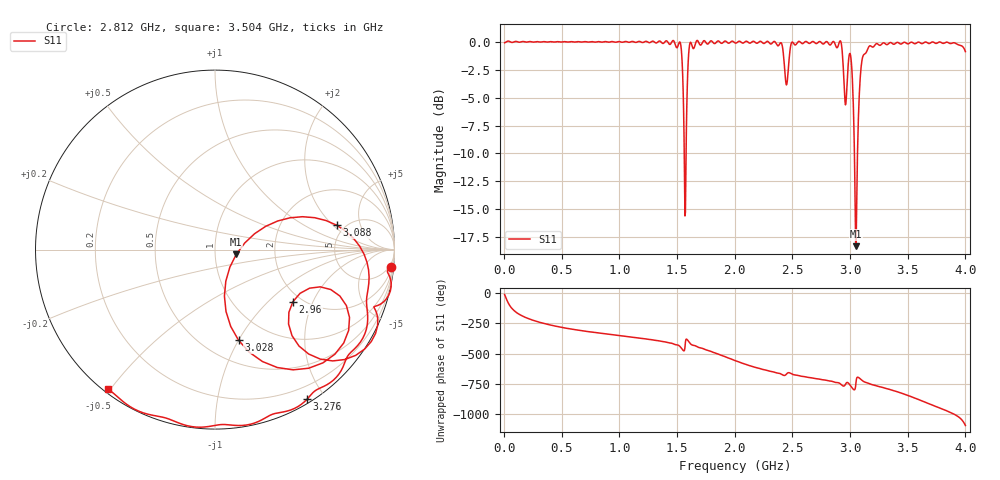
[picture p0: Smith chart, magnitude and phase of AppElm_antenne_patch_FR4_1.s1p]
! TOUCHSTONE file generated by CST MICROWAVE STUDIO
! Date and time: Tue Jun  7 21:31:13 2022
! Project name: AppElm_antenne_patch_FR4.cst
! Parameters = {L=45; W=58.5; e=0.035; h=1.6; lambda=0.190476; ls=120; w0=1.2; w1=0.533; ws=120; y0=20; y1=23.81}
! Header version: 2018
! Port assignment regex: !\s*Touchstone port\s*([0-9]+)\s*=\s*(CST MWS port|CST DS port)\s*([0-9]+|Zmin|Zmax)\s*\(\"(.*)\"\)(\s*mode\s*([0-9]+))?.*
! Touchstone port assignment:
! Touchstone port 1 = CST MWS port 1 ("")
# GHz S MA R 50
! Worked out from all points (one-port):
!   1000 points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, 4 MHz to 4 GHz, reference 50 ohm
!   lowest |S11| = -18.3 dB at 3.052 GHz (marker M1), VSWR 1.28, Z = 63.4 - j3.34 ohm
!   |S11| at or under -10 dB: 1.562 GHz to 1.578 GHz (15.82 MHz wide, 1.01 % of centre); 3.037 GHz to 3.064 GHz (26.85 MHz wide, 0.88 % of centre)
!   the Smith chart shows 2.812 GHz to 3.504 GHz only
!   S11 on the Smith chart (normalised r, x): 2.812 GHz: 3, -20; 2.96 GHz: 1.80, -1.43; 3.028 GHz: 0.72, -1.00; 3.088 GHz: 4.26, +2.22; 3.276 GHz: 0.04, -1.79; 3.504 GHz: 0.01, -0.49
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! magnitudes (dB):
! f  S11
! 4 MHz  -0.1
! 504 MHz  0.0
! 1.004 GHz  0.0
! 1.504 GHz  -0.5
! 1.532 GHz  -0.3
! 1.556 GHz  -6.0
! 1.568 GHz  -15.6
! 1.584 GHz  -5.8
! 1.604 GHz  -0.6
! 1.62 GHz  -0.1
! 2.004 GHz  -0.1
! 2.396 GHz  -0.1
! 2.448 GHz  -3.9
! 2.504 GHz  -0.1
! 2.812 GHz  -0.1
! 2.916 GHz  0.1
! 2.96 GHz  -5.6
! 3.004 GHz  -1.2
! 3.016 GHz  -2.6
! 3.028 GHz  -5.6
! 3.04 GHz  -11.5
! 3.052 GHz  -18.3
! 3.064 GHz  -10.1
! 3.088 GHz  -3.2
! 3.124 GHz  -1.1
! 3.276 GHz  -0.2
! 3.504 GHz  -0.2
! 4 GHz  -0.9
